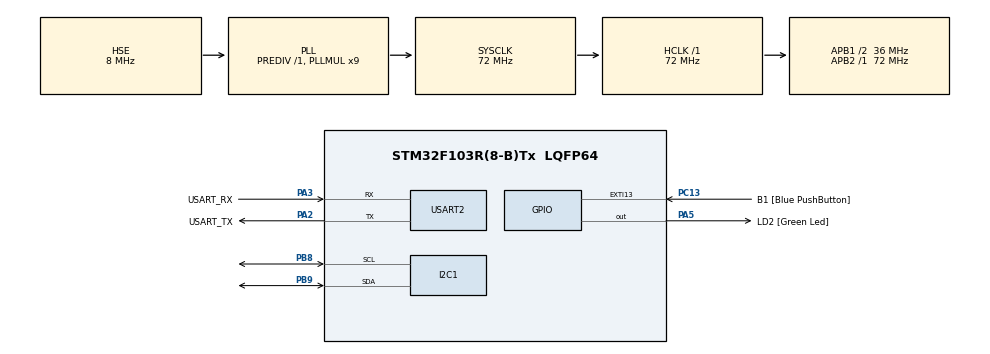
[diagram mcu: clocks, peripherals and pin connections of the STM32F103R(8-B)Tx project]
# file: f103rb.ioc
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Dma.Request0=USART2_RX
Dma.USART2_RX.0.Direction=DMA_PERIPH_TO_MEMORY
Dma.USART2_RX.0.Instance=DMA1_Channel6
Dma.USART2_RX.0.MemDataAlignment=DMA_MDATAALIGN_BYTE
Dma.USART2_RX.0.MemInc=DMA_MINC_ENABLE
Dma.USART2_RX.0.Mode=DMA_CIRCULAR
Dma.USART2_RX.0.PeriphDataAlignment=DMA_PDATAALIGN_BYTE
Dma.USART2_RX.0.PeriphInc=DMA_PINC_DISABLE
Dma.USART2_RX.0.Priority=DMA_PRIORITY_LOW
Mcu.Family=STM32F1
Mcu.Name=STM32F103R(8-B)Tx
Mcu.Package=LQFP64
NVIC.DMA1_Channel6_IRQn=true\:0\:0\:false\:false\:true\:false\:true\:true
NVIC.EXTI15_10_IRQn=true\:0\:0\:false\:false\:true\:true\:true\:true
NVIC.PriorityGroup=NVIC_PRIORITYGROUP_4
PA13.GPIO_Label=TMS
PA13.Mode=Serial_Wire
PA13.Signal=SYS_JTMS-SWDIO
PA14.GPIO_Label=TCK
PA14.Mode=Serial_Wire
PA14.Signal=SYS_JTCK-SWCLK
PA2.GPIO_Label=USART_TX
PA2.GPIO_Mode=GPIO_MODE_AF_PP
PA2.GPIO_PuPd=GPIO_NOPULL
PA2.GPIO_Speed=GPIO_SPEED_FREQ_LOW
PA2.Mode=Asynchronous
PA2.Signal=USART2_TX
PA3.GPIO_Label=USART_RX
PA3.GPIO_Mode=GPIO_MODE_AF_PP
PA3.GPIO_PuPd=GPIO_NOPULL
PA3.GPIO_Speed=GPIO_SPEED_FREQ_LOW
PA3.Mode=Asynchronous
PA3.Signal=USART2_RX
PA5.GPIO_Label=LD2 [Green Led]
PA5.GPIO_ModeDefaultOutputPP=GPIO_MODE_OUTPUT_PP
PA5.GPIO_PuPd=GPIO_NOPULL
PA5.GPIO_Speed=GPIO_SPEED_FREQ_LOW
PA5.Signal=GPIO_Output
PB3.GPIO_Label=SWO
PB3.Signal=SYS_JTDO-TRACESWO
PB8.Mode=I2C
PB8.Signal=I2C1_SCL
PB9.Mode=I2C
PB9.Signal=I2C1_SDA
PC13-TAMPER-RTC.GPIO_Label=B1 [Blue PushButton]
PC13-TAMPER-RTC.GPIO_PuPd=GPIO_NOPULL
PC13-TAMPER-RTC.Signal=GPXTI13
PC14-OSC32_IN.Mode=LSE-External-Oscillator
PC14-OSC32_IN.Signal=RCC_OSC32_IN
PC15-OSC32_OUT.Mode=LSE-External-Oscillator
PC15-OSC32_OUT.Signal=RCC_OSC32_OUT
PD0-OSC_IN.Mode=HSE-External-Clock-Source
PD0-OSC_IN.Signal=RCC_OSC_IN
PD1-OSC_OUT.Mode=HSE-External-Clock-Source
PD1-OSC_OUT.Signal=RCC_OSC_OUT
ProjectManager.HeapSize=0x200
ProjectManager.StackSize=0x400
ProjectManager.TargetToolchain=STM32CubeIDE
RCC.AHBFreq_Value=72000000
RCC.APB1CLKDivider=RCC_HCLK_DIV2
RCC.APB1Freq_Value=36000000
RCC.APB1TimFreq_Value=72000000
RCC.APB2Freq_Value=72000000
RCC.APB2TimFreq_Value=72000000
RCC.HCLKFreq_Value=72000000
RCC.PLLMUL=RCC_PLL_MUL9
RCC.PLLSourceVirtual=RCC_PLLSOURCE_HSE
RCC.RTCClockSelection=RCC_RTCCLKSOURCE_LSE
RCC.SYSCLKFreq_VALUE=72000000
RCC.SYSCLKSource=RCC_SYSCLKSOURCE_PLLCLK
RCC.USBFreq_Value=72000000
USART2.VirtualMode=VM_ASYNC
board=NUCLEO-F103RB

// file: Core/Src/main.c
/* USER CODE BEGIN Header */
/**
  ******************************************************************************
  * @file           : main.c
  * @brief          : Main program body
  ******************************************************************************
  * @attention
  *
  * Copyright (c) 2025 STMicroelectronics.
  * All rights reserved.
  *
  * This software is licensed under terms that can be found in the LICENSE file
  * in the root directory of this software component.
  * If no LICENSE file comes with this software, it is provided AS-IS.
  *
  ******************************************************************************
  */
/* USER CODE END Header */
#include "main.h"
#include "dma.h"
#include "i2c.h"
#include "usart.h"
#include "gpio.h"

/* USER CODE BEGIN Includes */
#include "util.h"
#include "imu.h"
#include "cli.h"
#include "cli_impl.h"
#include "timer_module.h"
#include "kalman.h"

#include "stm32f1xx.h"
#include <stdint.h>

#include <math.h>
#include <sys/unistd.h>
#include <errno.h>
#include <stdio.h>

/* USER CODE END Includes */

/* USER CODE BEGIN PV */
// DMA buffer for UART RX
uint8_t dma_buffer[DMA_BUFFER_SIZE];
volatile uint16_t offset = 0;
/* USER CODE END PV */

void SystemClock_Config(void);

int main(void)
{

  /* MCU Configuration--------------------------------------------------------*/

  /* Reset of all peripherals, Initializes the Flash interface and the Systick. */
  HAL_Init();

  /* Configure the system clock */
  SystemClock_Config();

  /* Initialize all configured peripherals */
  MX_GPIO_Init();
  MX_DMA_Init();
  MX_USART2_UART_Init();
  MX_I2C1_Init();
  /* USER CODE BEGIN 2 */

  timer_module_init();

  // Start DMA for UART RX
  HAL_UARTEx_ReceiveToIdle_DMA(&huart2, dma_buffer, DMA_BUFFER_SIZE);
  __HAL_DMA_DISABLE_IT(&hdma_usart2_rx, DMA_IT_HT);

  // Initialize imu
  imu_t imu;
  if(imu_init(&imu) != 0)
  {
    return 1;
  }

  const float kalman_dt = 1.0/500.0; // 500hz

  kalman_init(kalman_dt);

  print("Initialized!\r\n");

  // Initialize CLI (user implementation with all commands and variables)
  cli_user_init(dma_buffer, DMA_BUFFER_SIZE, (volatile uint32_t*)&hdma_usart2_rx.Instance->CNDTR);

  /* USER CODE END 2 */

  /* Infinite loop */
  /* USER CODE BEGIN WHILE */
  while (1)
  {
    // Update CLI (must be called frequently to detect key presses)
//    cli_update();

    if(led_mode == 0)
    {
      HAL_GPIO_WritePin(LD2_GPIO_Port, LD2_Pin, GPIO_PIN_RESET);
    }
    else if(led_mode == 1)
    {
        HAL_GPIO_WritePin(LD2_GPIO_Port, LD2_Pin, GPIO_PIN_SET);
    }
    else if(led_mode == 2)
    {
    	static uint64_t blink_timer = 0;
    	uint64_t interval_ms = 1000 / led_blink_rate;
    	if(has_interval_elapsed_ms(&blink_timer, interval_ms))
    	{
    		HAL_GPIO_TogglePin(LD2_GPIO_Port, LD2_Pin);
    	}
    }

    // Check if enough time has passed for next sample
    static uint64_t tim_imu = 0;
	if(has_interval_elapsed_ms(&tim_imu, kalman_dt)) // 100 hz
	{
	    // Process imu data
	    if(imu_process(&imu) == 0)
	    {
	    	kalman_update(&imu);
//	    	uint32_t t = micros() & 0xffffffff;
//	        printf("%lu %f %f %f %f %f %f\r\n", t,
//	               imu.acc[0], imu.acc[1], imu.acc[2],
//	               imu.gyr[0], imu.gyr[1], imu.gyr[2]);

	    }
	}

    static uint64_t tim_send = 0;
	if(has_interval_elapsed_ms(&tim_send, 1000.0/60.0))
	{
    	float pitch = kalman_get_pitch();
    	float roll  = kalman_get_roll();
    	float bpitch = kalman_get_pitch_bias();
    	float broll  = kalman_get_roll_bias();

//    	printf("%.5f %.5f\r\n", pitch*180.0f/M_PI, roll*180.0f/M_PI);
		uint8_t buffer[sizeof(float)*4+1];

		// copy each float into the buffer
		uint8_t header =0xAA;
		memcpy(buffer, &header , sizeof(uint8_t));
		memcpy(buffer+1,       &pitch,  sizeof(float));
		memcpy(buffer+5,     &roll,   sizeof(float));
		memcpy(buffer+9,     &bpitch, sizeof(float));
		memcpy(buffer+13,    &broll,  sizeof(float));

		// send raw data via UART
		HAL_UART_Transmit(&huart2, buffer, sizeof(buffer), HAL_MAX_DELAY);
	}

    // If logging is enabled, continuously print IMU data
    // Press Enter to stop logging and return to CLI
    if(imu_logging_enabled)
    {
      // Send imu data to console as formatted string
      // Format: <ax> <ay> <az> <gx> <gy> <gz>
      printf("%f %f %f %f %f %f\r\n",
             imu.acc[0], imu.acc[1], imu.acc[2],
             imu.gyr[0], imu.gyr[1], imu.gyr[2]);
    }

    /* USER CODE END WHILE */

    /* USER CODE BEGIN 3 */
  }
  return 0;
  /* USER CODE END 3 */
}

void SystemClock_Config(void)
{
  RCC_OscInitTypeDef RCC_OscInitStruct = {0};
  RCC_ClkInitTypeDef RCC_ClkInitStruct = {0};

  /** Initializes the RCC Oscillators according to the specified parameters
  * in the RCC_OscInitTypeDef structure.
  */
  RCC_OscInitStruct.OscillatorType = RCC_OSCILLATORTYPE_HSE;
  RCC_OscInitStruct.HSEState = RCC_HSE_BYPASS;
  RCC_OscInitStruct.HSEPredivValue = RCC_HSE_PREDIV_DIV1;
  RCC_OscInitStruct.HSIState = RCC_HSI_ON;
  RCC_OscInitStruct.PLL.PLLState = RCC_PLL_ON;
  RCC_OscInitStruct.PLL.PLLSource = RCC_PLLSOURCE_HSE;
  RCC_OscInitStruct.PLL.PLLMUL = RCC_PLL_MUL9;
  if (HAL_RCC_OscConfig(&RCC_OscInitStruct) != HAL_OK)
  {
    Error_Handler();
  }

  /** Initializes the CPU, AHB and APB buses clocks
  */
  RCC_ClkInitStruct.ClockType = RCC_CLOCKTYPE_HCLK|RCC_CLOCKTYPE_SYSCLK
                              |RCC_CLOCKTYPE_PCLK1|RCC_CLOCKTYPE_PCLK2;
  RCC_ClkInitStruct.SYSCLKSource = RCC_SYSCLKSOURCE_PLLCLK;
  RCC_ClkInitStruct.AHBCLKDivider = RCC_SYSCLK_DIV1;
  RCC_ClkInitStruct.APB1CLKDivider = RCC_HCLK_DIV2;
  RCC_ClkInitStruct.APB2CLKDivider = RCC_HCLK_DIV1;

  if (HAL_RCC_ClockConfig(&RCC_ClkInitStruct, FLASH_LATENCY_2) != HAL_OK)
  {
    Error_Handler();
  }
}

/* USER CODE BEGIN 4 */

void process_character(char ch)
{

}

void HAL_UARTEx_RxEventCallback(UART_HandleTypeDef *huart, uint16_t Size)
{
	if (huart->Instance == USART2)
	{
		offset = DMA_BUFFER_SIZE - __HAL_DMA_GET_COUNTER(&hdma_usart2_rx);
	}
}

int _write(int fd, char* ptr, int len) {
  HAL_StatusTypeDef hstatus;

  if (fd == STDOUT_FILENO || fd == STDERR_FILENO) {
    hstatus = HAL_UART_Transmit(&huart2, (uint8_t *) ptr, len, HAL_MAX_DELAY);
    if (hstatus == HAL_OK)
      return len;
    else
      return EIO;
  }
  errno = EBADF;
  return -1;
}

int _read(int fd, char* ptr, int len) {
  (void)len;
  HAL_StatusTypeDef hstatus;

  if (fd == STDIN_FILENO) {
    hstatus = HAL_UART_Receive(&huart2, (uint8_t *) ptr, 1, HAL_MAX_DELAY);
    if (hstatus == HAL_OK)
      return 1;
    else
      return EIO;
  }
  errno = EBADF;
  return -1;
}
/* USER CODE END 4 */

void Error_Handler(void)
{
  __disable_irq();
  while (1)
  {
  }
}
